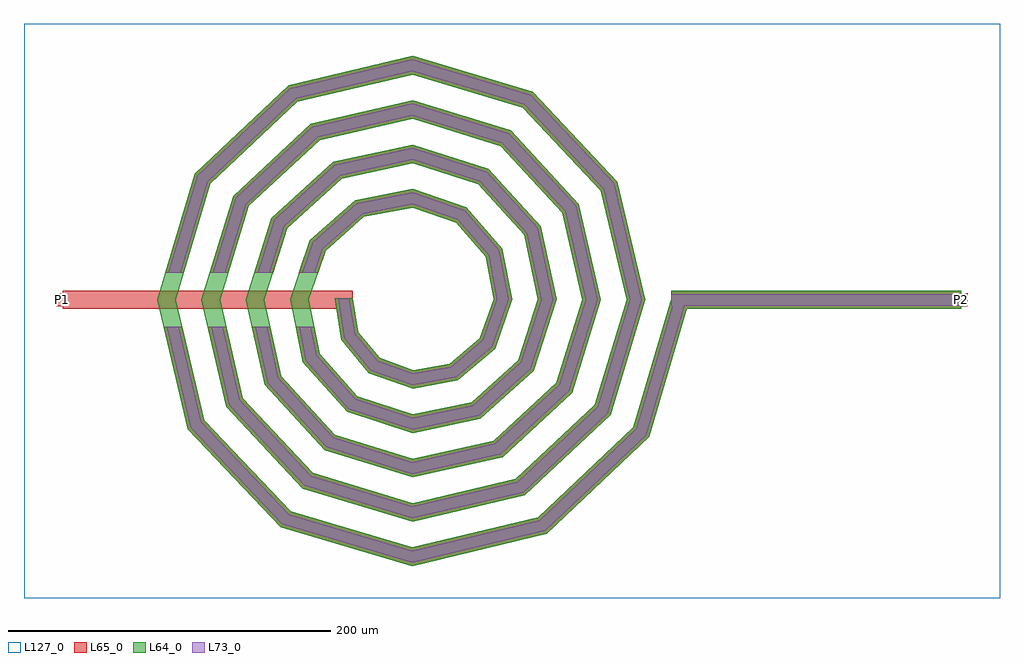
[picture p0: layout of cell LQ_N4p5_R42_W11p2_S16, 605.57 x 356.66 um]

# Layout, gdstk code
import gdstk
lib = gdstk.Library(unit=1e-6, precision=1e-09)
def R(c, l, rs):  # rectangles x0, y0, x1, y1
    for r in rs: c.add(gdstk.rectangle(r[:2], r[2:], *l))
def P(c, l, *ps):  # polygons
    for p in ps: c.add(gdstk.Polygon(p, *l))
L64_0 = (64, 0)
L65_0 = (65, 0)
L73_0 = (73, 0)
L127_0 = (127, 0)

lq_n4p5_r42_w11p2_s16 = lib.new_cell('LQ_N4p5_R42_W11p2_S16')
R(lq_n4p5_r42_w11p2_s16, L64_0, [(160.69,-5.6,340.69,5.6)])
P(lq_n4p5_r42_w11p2_s16, L64_0, [(-33.499,-19.978),(-20.191,-36.022),(0.501,-43.582),(23.351,-39.488),(41.941,-23.685),(50.456,0.44),(45.469,26.74),(27.167,47.869),(0.392,57.331),(-30.139,51.446),(-53.803,30.641),(-64.207,0.354),(-57.419,-33.546),(-34.108,-59.741),(0.322,-71.084),(36.959,-63.389),(65.683,-37.571),(77.961,0.296),(69.357,40.376),(41.03,71.627),(0.273,84.838),(-43.796,75.324),(-77.573,44.486),(-91.715,0.254),(-81.289,-47.219),(-47.94,-83.52),(0.237,-98.593),(50.644,-87.253),(89.469,-51.392),(105.471,0.223),(93.217,54.071),(54.843,95.418),(0.21,112.348),(-57.499,99.179),(-101.368,58.292),(-119.226,0.198),(-105.141,-60.928),(-61.74,-107.32),(0.188,-126.104),(64.358,-111.102),(113.271,-65.187),(132.982,0.179),(117.063,67.79),(68.634,119.223),(0.17,139.86),(-71.222,123.024),(-125.176,72.08),(-146.738,0.163),(-128.984,-74.654),(-75.525,-131.129),(0.156,-153.616),(78.087,-134.944),(137.082,-78.97),(160.92,1.589),(171.66,-1.589),(146.97,-85.027),(83.617,-145.136),(0.156,-165.208),(-81.594,-141.009),(-139.183,-80.172),(-158.329,0.163),(-135.049,78.161),(-76.727,133.23),(0.17,151.451),(74.729,129.088),(127.277,73.28),(144.572,0.179),(123.127,-71.297),(69.833,-121.325),(0.188,-137.694),(-67.866,-117.165),(-115.373,-66.386),(-130.816,0.198),(-111.203,64.436),(-62.937,109.421),(0.21,123.937),(61.007,105.24),(103.47,59.487),(117.058,0.223),(99.276,-57.58),(56.035,-97.52),(0.237,-110.18),(-54.154,-93.311),(-91.571,-52.582),(-103.301,0.254),(-87.345,50.73),(-49.127,85.623),(0.273,96.422),(47.308,81.378),(79.676,45.669),(89.543,0.296),(75.409,-43.888),(42.207,-73.731),(0.322,-82.664),(-40.473,-69.437),(-67.788,-38.742),(-75.784,0.354),(-63.462,37.062),(-35.271,61.848),(0.392,68.904),(33.657,57.482),(55.911,31.792),(62.022,0.44),(51.497,-30.261),(28.302,-49.979),(0.501,-55.14),(-26.878,-45.503),(-44.054,-24.797),(-48.008,0.915),(-36.958,0.915)])
R(lq_n4p5_r42_w11p2_s16, L65_0, [(-216.883,-5.6,-36.883,5.6), (160.69,-5.6,340.69,5.6), (-220.883,-4,-212.883,4), (336.69,-4,344.69,4)])
P(lq_n4p5_r42_w11p2_s16, L65_0, [(-128.984,-74.654),(-75.525,-131.129),(0.156,-153.616),(78.087,-134.944),(137.082,-78.97),(160.92,1.589),(171.66,-1.589),(146.97,-85.028),(83.617,-145.136),(0.156,-165.208),(-81.594,-141.009),(-139.183,-80.172),(-154.287,-16.8),(-142.773,-16.8)],
  [(-105.141,-60.928),(-61.74,-107.32),(0.188,-126.104),(64.358,-111.103),(113.271,-65.187),(132.982,0.179),(117.064,67.79),(68.634,119.223),(0.17,139.86),(-71.222,123.024),(-125.176,72.08),(-141.675,16.8),(-153.363,16.8),(-135.049,78.161),(-76.727,133.23),(0.17,151.451),(74.729,129.088),(127.277,73.28),(144.573,0.179),(123.127,-71.297),(69.833,-121.325),(0.188,-137.694),(-67.866,-117.165),(-115.373,-66.386),(-126.873,-16.8),(-115.376,-16.8)],
  [(-81.289,-47.219),(-47.94,-83.52),(0.238,-98.593),(50.644,-87.253),(89.469,-51.392),(105.471,0.223),(93.217,54.071),(54.843,95.418),(0.21,112.349),(-57.499,99.179),(-101.369,58.292),(-114.037,16.8),(-125.747,16.8),(-111.203,64.436),(-62.937,109.421),(0.21,123.937),(61.007,105.24),(103.47,59.487),(117.059,0.223),(99.276,-57.58),(56.035,-97.52),(0.238,-110.18),(-54.154,-93.311),(-91.571,-52.582),(-99.515,-16.8),(-88.042,-16.8)],
  [(-57.419,-33.547),(-34.108,-59.741),(0.322,-71.084),(36.959,-63.389),(65.683,-37.571),(77.961,0.296),(69.357,40.376),(41.03,71.627),(0.274,84.838),(-43.796,75.324),(-77.573,44.486),(-86.325,16.8),(-98.071,16.8),(-87.345,50.73),(-49.127,85.623),(0.274,96.422),(47.308,81.378),(79.676,45.669),(89.543,0.296),(75.409,-43.888),(42.207,-73.731),(0.322,-82.664),(-40.473,-69.437),(-67.788,-38.742),(-72.276,-16.8),(-60.844,-16.8)],
  [(-20.191,-36.022),(0.501,-43.582),(23.351,-39.488),(41.941,-23.685),(50.456,0.44),(45.469,26.74),(27.167,47.869),(0.392,57.331),(-30.14,51.446),(-53.803,30.641),(-58.449,16.8),(-70.263,16.8),(-63.462,37.062),(-35.271,61.848),(0.392,68.904),(33.658,57.482),(55.911,31.792),(62.022,0.44),(51.497,-30.262),(28.302,-49.979),(0.501,-55.14),(-26.878,-45.503),(-44.054,-24.797),(-48.008,0.915),(-36.958,0.915),(-33.499,-19.979)])
R(lq_n4p5_r42_w11p2_s16, L73_0, [(160.69,-3.6,340.69,3.6)])
P(lq_n4p5_r42_w11p2_s16, L73_0, [(-130.805,-75.639),(-76.609,-132.893),(0.1,-155.686),(79.075,-136.764),(138.848,-80.052),(162.838,1.022),(169.742,-1.022),(145.204,-83.946),(82.63,-143.316),(0.1,-163.138),(-80.51,-139.245),(-137.362,-79.187),(-152.231,-16.8),(-144.829,-16.8)],
  [(-106.968,-61.903),(-62.834,-109.078),(0.121,-128.174),(65.336,-112.928),(115.031,-66.278),(135.052,0.115),(118.887,68.77),(69.722,120.985),(0.109,141.93),(-72.205,124.847),(-126.939,73.166),(-143.762,16.8),(-151.276,16.8),(-133.286,77.075),(-75.744,131.407),(0.109,149.381),(73.64,127.327),(125.453,72.3),(142.503,0.115),(121.367,-70.206),(68.856,-119.499),(0.121,-135.624),(-66.772,-115.407),(-113.546,-65.411),(-124.82,-16.8),(-117.429,-16.8)],
  [(-83.125,-48.177),(-49.05,-85.269),(0.153,-100.662),(51.607,-89.087),(91.22,-52.497),(107.54,0.143),(95.048,55.038),(55.944,97.172),(0.135,114.418),(-58.47,101.008),(-103.125,59.389),(-116.128,16.8),(-123.656,16.8),(-109.447,63.339),(-61.966,107.592),(0.135,121.868),(59.907,103.486),(101.639,58.52),(114.989,0.143),(97.525,-56.475),(55.072,-95.687),(0.153,-108.111),(-53.044,-91.563),(-89.735,-51.624),(-97.466,-16.8),(-90.091,-16.8)],
  [(-59.271,-34.474),(-35.245,-61.473),(0.207,-73.152),(37.896,-65.236),(67.42,-38.699),(80.029,0.19),(71.2,41.321),(42.151,73.368),(0.176,86.907),(-44.748,77.163),(-79.318,45.601),(-88.422,16.8),(-95.973,16.8),(-85.6,49.615),(-48.175,83.784),(0.176,94.354),(46.187,79.637),(77.834,44.724),(87.475,0.19),(73.672,-42.76),(41.27,-71.884),(0.207,-80.596),(-39.336,-67.705),(-65.937,-37.814),(-70.234,-16.8),(-62.885,-16.8)],
  [(-21.385,-37.715),(0.322,-45.646),(24.236,-41.361),(43.648,-24.859),(52.521,0.283),(47.334,27.642),(28.326,49.586),(0.252,59.398),(-31.056,53.303),(-55.528,31.787),(-60.559,16.8),(-68.154,16.8),(-61.737,35.915),(-34.354,59.99),(0.252,66.837),(32.499,55.766),(54.046,30.89),(59.957,0.283),(49.791,-29.087),(27.418,-48.106),(0.322,-53.076),(-25.684,-43.81),(-42.169,-23.937),(-46.035,0.588),(-38.931,0.588),(-35.384,-20.839)])
R(lq_n4p5_r42_w11p2_s16, L127_0, [(-240.883,-185.208,364.69,171.451)])
lq_n4p5_r42_w11p2_s16.add(gdstk.Label('P2', (340.69,0), layer=65, texttype=0))
lq_n4p5_r42_w11p2_s16.add(gdstk.Label('P1', (-216.883,0), layer=65, texttype=0))
lq_n4p5_r42_w11p2_s16.add(gdstk.Label('P2', (344.69,0), layer=145, texttype=0))
lq_n4p5_r42_w11p2_s16.add(gdstk.Label('P1', (-220.883,0), layer=145, texttype=0))

lib.write_gds('LQ_N4p5_R42_W11p2_S16.gds')
